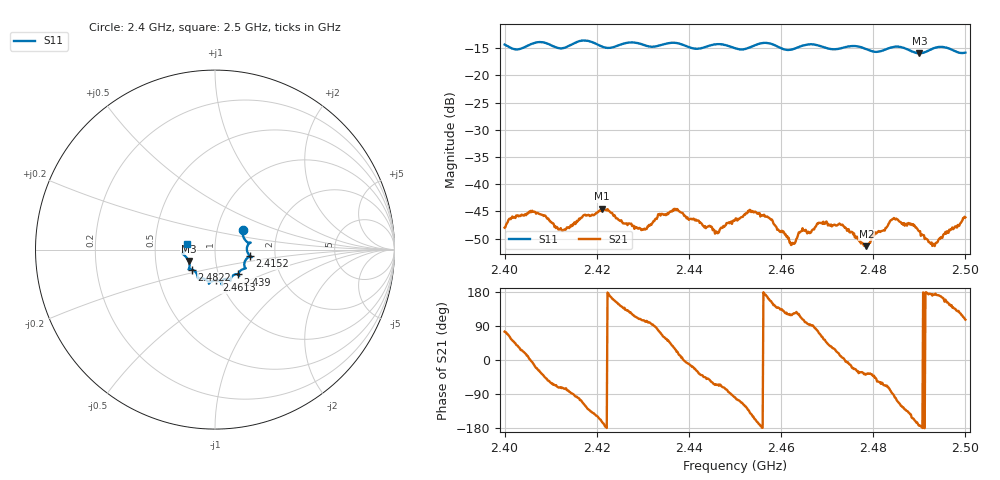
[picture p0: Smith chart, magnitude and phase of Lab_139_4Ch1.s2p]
# Hz S RI R 50
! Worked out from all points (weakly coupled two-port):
!   601 points, 2.4 GHz to 2.5 GHz, reference 50 ohm
!   highest |S21| = -44.52 dB at 2.4212 GHz (marker M1); lowest = -51.4 dB at 2.4785 GHz (marker M2)
!   lowest |S11| = -15.9 dB at 2.49 GHz (marker M3), VSWR 1.38, Z = 37 - j4.85 ohm
!   |S11| at or under -10 dB: start of sweep to end of sweep
!   S12 and S22 are empty: the file has one direction only
!   S11 on the Smith chart (normalised r, x): 2.4 GHz: 1.33, +0.31; 2.4152 GHz: 1.48, -0.11; 2.439 GHz: 1.24, -0.36; 2.4613 GHz: 0.96, -0.34; 2.4822 GHz: 0.76, -0.17; 2.5 GHz: 0.72, +0.05
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2.4e9  0.1563 0.1117  0.00104 0.00384  0 0  0 0
2.405833e9  0.1912 0.0372  0.00553 -0.00033  0 0  0 0
2.412167e9  0.1772 0.00311  0.00123 -0.00375  0 0  0 0
2.415167e9  0.1949 -0.0364  -0.000282 -0.00445  0 0  0 0
2.416667e9  0.2043 -0.0423  -0.00149 -0.0047  0 0  0 0
2.421167e9  0.1772 -0.0504  -0.00571 -0.00163  0 0  0 0
2.43e9  0.1586 -0.1081  -0.000974 0.00373  0 0  0 0
2.433333e9  0.1325 -0.1319  0.00108 0.00519  0 0  0 0
2.439e9  0.1286 -0.1385  0.0051 -0.000167  0 0  0 0
2.446e9  0.0856 -0.1738  0.0015 -0.00335  0 0  0 0
2.45e9  0.069 -0.164  -0.000667 -0.00461  0 0  0 0
2.454167e9  0.035 -0.185  -0.00498 -0.00239  0 0  0 0
2.461333e9  0.00773 -0.1712  -0.00172 0.00285  0 0  0 0
2.462667e9  -0.0121 -0.1742  -0.00152 0.00243  0 0  0 0
2.466667e9  -0.0337 -0.1903  -5.45e-05 0.00375  0 0  0 0
2.473e9  -0.0774 -0.1598  0.00417 0.000722  0 0  0 0
2.4785e9  -0.0987 -0.1436  0.00216 -0.00161  0 0  0 0
2.482167e9  -0.1281 -0.1117  0.00156 -0.00342  0 0  0 0
2.483333e9  -0.1393 -0.11  0.00129 -0.00413  0 0  0 0
2.49e9  -0.1463 -0.0639  -0.00366 -0.00041  0 0  0 0
2.493333e9  -0.1774 -0.0264  -0.00267 0.000352  0 0  0 0
2.5e9  -0.1585 0.033  -0.00141 0.00475  0 0  0 0
